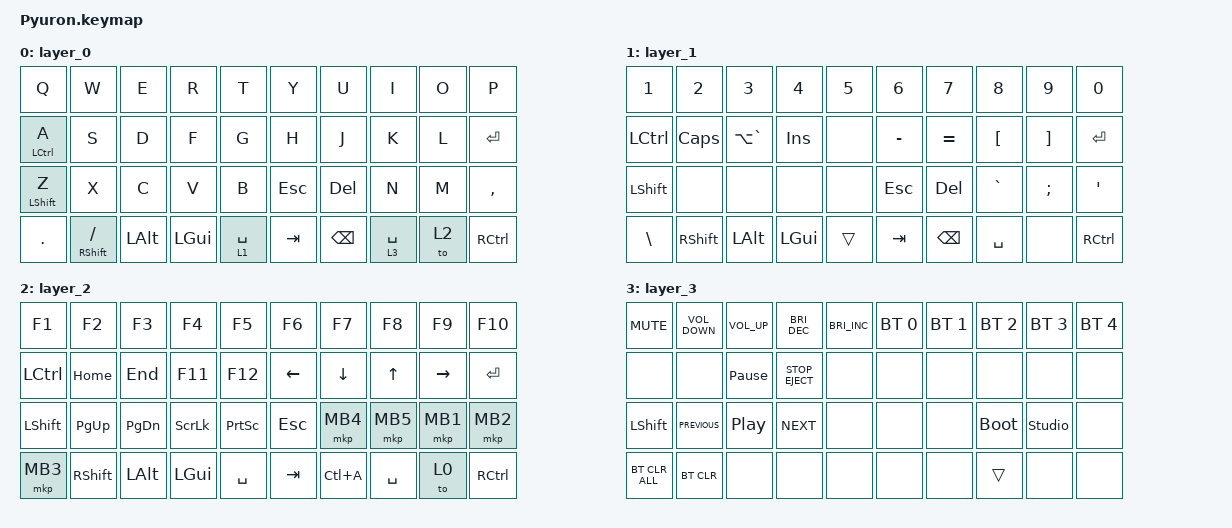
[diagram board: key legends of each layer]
#include <behaviors.dtsi>
#include <dt-bindings/zmk/bt.h>
#include <dt-bindings/zmk/keys.h>
#include <dt-bindings/zmk/pointing.h>

#define MOUSE 6

&mt {
    flavor = "balanced";
    quick-tap-ms = <0>;
};

/ {
    combos { compatible = "zmk,combos"; };

    my_lt: my_lt {
        compatible = "zmk,behavior-hold-tap";
        label = "MY_LT";
        bindings = <&mo>, <&kp>;

        #binding-cells = <2>;
        tapping-term-ms = <400>;
        require-prior-idle-ms = <300>;
        flavor = "tap-preferred";
    };

    my_mt: my_mt {
        compatible = "zmk,behavior-hold-tap";
        label = "MY_MT";
        bindings = <&kp>, <&kp>;

        #binding-cells = <2>;
        tapping-term-ms = <400>;
        require-prior-idle-ms = <300>;
        flavor = "tap-preferred";
    };
};

/ {
    behaviors {
    };

    keymap {
        compatible = "zmk,keymap";

        layer_0 {
            bindings = <
&kp Q                  &kp W                     &kp E     &kp R     &kp T           &kp Y    &kp U          &kp I           &kp O  &kp P
&my_mt LEFT_CONTROL A  &kp S                     &kp D     &kp F     &kp G           &kp H    &kp J          &kp K           &kp L  &kp RET
&my_mt LEFT_SHIFT Z    &kp X                     &kp C     &kp V     &kp B           &kp ESC  &kp DELETE     &kp N           &kp M  &kp COMMA
&kp DOT                &my_mt RIGHT_SHIFT SLASH  &kp LALT  &kp LGUI  &my_lt 1 SPACE  &kp TAB  &kp BACKSPACE  &my_lt 3 SPACE  &to 2  &kp RCTRL
            >;
        };

        layer_1 {
            bindings = <
&kp N1     &kp N2        &kp N3         &kp N4      &kp N5  &kp N6     &kp N7      &kp N8     &kp N9    &kp N0
&kp LCTRL  &kp CAPSLOCK  &kp LA(GRAVE)  &kp INSERT  &none   &kp MINUS  &kp EQUAL   &kp LBKT   &kp RBKT  &kp ENTER
&kp LSHFT  &none         &none          &none       &none   &kp ESC    &kp DELETE  &kp GRAVE  &kp SEMI  &kp APOS
&kp BSLH   &kp RSHFT     &kp LALT       &kp LGUI    &trans  &kp TAB    &kp BSPC    &kp SPACE  &none     &kp RCTRL
            >;
        };

        layer_2 {
            bindings = <
&kp F1     &kp F2       &kp F3         &kp F4          &kp F5           &kp F6          &kp F7          &kp F8        &kp F9           &kp F10
&kp LCTRL  &kp HOME     &kp END        &kp F11         &kp F12          &kp LEFT_ARROW  &kp DOWN_ARROW  &kp UP_ARROW  &kp RIGHT_ARROW  &kp ENTER
&kp LSHFT  &kp PAGE_UP  &kp PAGE_DOWN  &kp SCROLLLOCK  &kp PRINTSCREEN  &kp ESCAPE      &mkp MB4        &mkp MB5      &mkp MB1         &mkp MB2
&mkp MB3   &kp RSHFT    &kp LALT       &kp LGUI        &kp SPACE        &kp TAB         &kp LC(A)       &kp SPACE     &to 0            &kp RCTRL
            >;
        };

        layer_3 {
            bindings = <
&kp C_MUTE      &kp C_VOLUME_DOWN  &kp C_VOLUME_UP   &kp C_BRIGHTNESS_DEC  &kp C_BRIGHTNESS_INC  &bt BT_SEL 0  &bt BT_SEL 1  &bt BT_SEL 2  &bt BT_SEL 3    &bt BT_SEL 4
&none           &none              &kp PAUSE_BREAK   &kp C_STOP_EJECT      &none                 &none         &none         &none         &none           &none
&kp LEFT_SHIFT  &kp C_PREVIOUS     &kp C_PLAY_PAUSE  &kp C_NEXT            &none                 &none         &none         &bootloader   &studio_unlock  &none
&bt BT_CLR_ALL  &bt BT_CLR         &none             &none                 &none                 &none         &none         &trans        &none           &none
            >;
        };
    };
};
